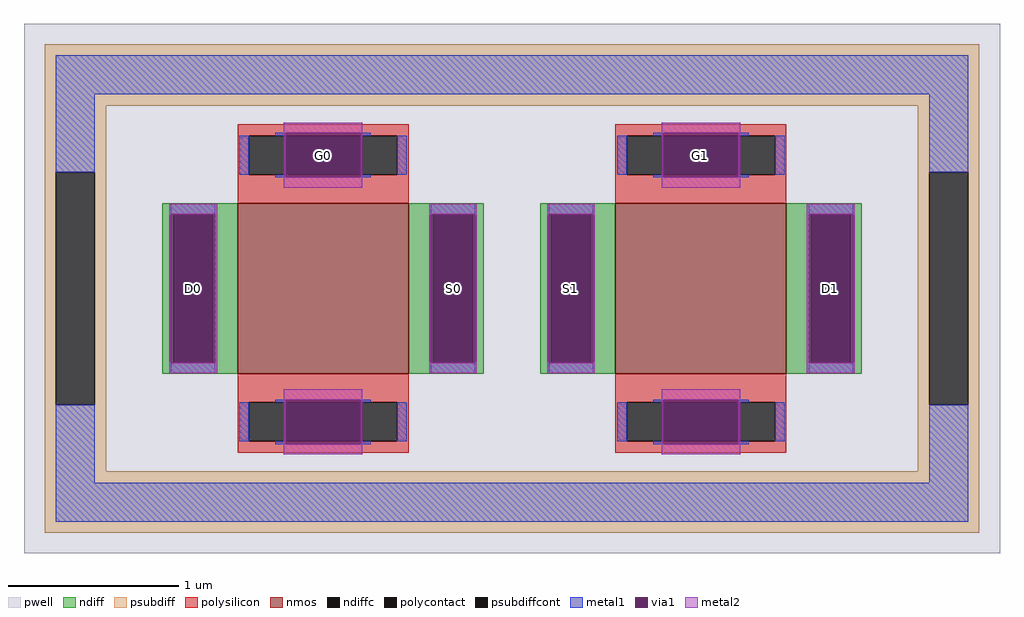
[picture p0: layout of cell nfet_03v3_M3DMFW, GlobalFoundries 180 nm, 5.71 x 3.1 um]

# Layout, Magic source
magic
tech gf180mcuD
magscale 1 10
<< pwell >>
rect -571 -310 571 310
<< nmos >>
rect -321 -100 -121 100
rect 121 -100 321 100
<< ndiff >>
rect -409 87 -321 100
rect -409 -87 -396 87
rect -350 -87 -321 87
rect -409 -100 -321 -87
rect -121 87 -33 100
rect -121 -87 -92 87
rect -46 -87 -33 87
rect -121 -100 -33 -87
rect 33 87 121 100
rect 33 -87 46 87
rect 92 -87 121 87
rect 33 -100 121 -87
rect 321 87 409 100
rect 321 -87 350 87
rect 396 -87 409 87
rect 321 -100 409 -87
<< ndiffc >>
rect -396 -87 -350 87
rect -92 -87 -46 87
rect 46 -87 92 87
rect 350 -87 396 87
<< psubdiff >>
rect -547 214 547 286
rect -547 136 -475 214
rect -547 -136 -534 136
rect -488 -136 -475 136
rect 475 136 547 214
rect -547 -214 -475 -136
rect 475 -136 488 136
rect 534 -136 547 136
rect 475 -214 547 -136
rect -547 -286 547 -214
<< psubdiffcont >>
rect -534 -136 -488 136
rect 488 -136 534 136
<< polysilicon >>
rect -321 179 -121 192
rect -321 133 -308 179
rect -134 133 -121 179
rect -321 100 -121 133
rect 121 179 321 192
rect 121 133 134 179
rect 308 133 321 179
rect 121 100 321 133
rect -321 -133 -121 -100
rect -321 -179 -308 -133
rect -134 -179 -121 -133
rect -321 -192 -121 -179
rect 121 -133 321 -100
rect 121 -179 134 -133
rect 308 -179 321 -133
rect 121 -192 321 -179
<< polycontact >>
rect -308 133 -134 179
rect 134 133 308 179
rect -308 -179 -134 -133
rect 134 -179 308 -133
<< metal1 >>
rect -534 227 534 273
rect -534 136 -488 227
rect -277 179 -265 182
rect -177 179 -165 182
rect 165 179 177 182
rect 265 179 277 182
rect -319 133 -308 179
rect -134 133 -123 179
rect 123 133 134 179
rect 308 133 319 179
rect 488 136 534 227
rect -277 130 -265 133
rect -177 130 -165 133
rect 165 130 177 133
rect 265 130 277 133
rect -399 87 -347 99
rect -399 -99 -347 -87
rect -95 87 -43 99
rect -95 -99 -43 -87
rect 43 87 95 99
rect 43 -99 95 -87
rect 347 87 399 99
rect 347 -99 399 -87
rect -277 -133 -265 -130
rect -177 -133 -165 -130
rect 165 -133 177 -130
rect 265 -133 277 -130
rect -534 -227 -488 -136
rect -319 -179 -308 -133
rect -134 -179 -123 -133
rect 123 -179 134 -133
rect 308 -179 319 -133
rect -277 -182 -265 -179
rect -177 -182 -165 -179
rect 165 -182 177 -179
rect 265 -182 277 -179
rect 488 -227 534 -136
rect -534 -273 534 -227
<< via1 >>
rect -265 179 -177 182
rect 177 179 265 182
rect -265 133 -177 179
rect 177 133 265 179
rect -265 130 -177 133
rect 177 130 265 133
rect -399 -87 -396 87
rect -396 -87 -350 87
rect -350 -87 -347 87
rect -95 -87 -92 87
rect -92 -87 -46 87
rect -46 -87 -43 87
rect 43 -87 46 87
rect 46 -87 92 87
rect 92 -87 95 87
rect 347 -87 350 87
rect 350 -87 396 87
rect 396 -87 399 87
rect -265 -133 -177 -130
rect 177 -133 265 -130
rect -265 -179 -177 -133
rect 177 -179 265 -133
rect -265 -182 -177 -179
rect 177 -182 265 -179
<< metal2 >>
rect -267 182 -175 194
rect -267 130 -265 182
rect -177 130 -175 182
rect -267 118 -175 130
rect 175 182 267 194
rect 175 130 177 182
rect 265 130 267 182
rect 175 118 267 130
rect -401 87 -345 99
rect -401 -87 -399 87
rect -347 -87 -345 87
rect -401 -99 -345 -87
rect -97 87 -41 99
rect -97 -87 -95 87
rect -43 -87 -41 87
rect -97 -99 -41 -87
rect 41 87 97 99
rect 41 -87 43 87
rect 95 -87 97 87
rect 41 -99 97 -87
rect 345 87 401 99
rect 345 -87 347 87
rect 399 -87 401 87
rect 345 -99 401 -87
rect -267 -130 -175 -118
rect -267 -182 -265 -130
rect -177 -182 -175 -130
rect -267 -194 -175 -182
rect 175 -130 267 -118
rect 175 -182 177 -130
rect 265 -182 267 -130
rect 175 -194 267 -182
<< labels >>
rlabel ndiffc -373 0 -373 0 0 D0
port 1 nsew
rlabel ndiffc -69 0 -69 0 0 S0
port 2 nsew
rlabel polycontact -221 156 -221 156 0 G0
port 3 nsew
rlabel ndiffc 373 0 373 0 0 D1
port 4 nsew
rlabel ndiffc 69 0 69 0 0 S1
port 5 nsew
rlabel polycontact 221 156 221 156 0 G1
port 6 nsew
<< properties >>
string FIXED_BBOX -511 -250 511 250
string gencell nfet_03v3
string library gf180mcu
string parameters w 1.0 l 1.0 m 1 nf 2 diffcov 100 polycov 100 guard 1 glc 1 grc 1 gtc 0 gbc 0 tbcov 100 rlcov 80 topc 1 botc 1 poverlap 0 doverlap 0 lmin 0.28 wmin 0.22 class mosfet full_metal 1 viasrc 100 viadrn 100 viagate 50 viagb 0 viagr 0 viagl 0 viagt 0 doports 1 compatible {nfet_03v3 nfet_05v0 nfet_06v0 nfet_06v0_nvt}
<< end >>
